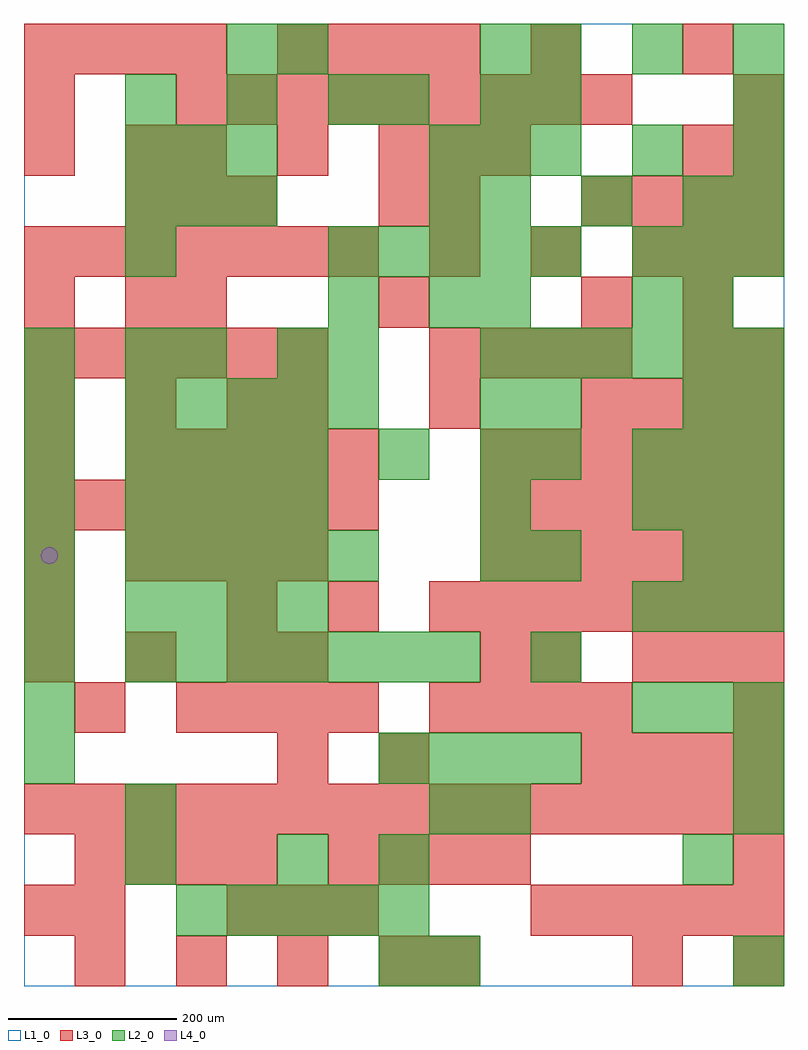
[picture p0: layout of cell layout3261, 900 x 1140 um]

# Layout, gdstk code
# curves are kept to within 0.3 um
import gdstk
lib = gdstk.Library(unit=1e-6, precision=1e-09)
def R(c, l, rs):  # rectangles x0, y0, x1, y1
    for r in rs: c.add(gdstk.rectangle(r[:2], r[2:], *l))
def A(c, l, x, y, w, h, nx, ny, dx, dy):  # array of equal rectangles
    R(c, l, [(x+i*dx, y+j*dy, x+i*dx+w, y+j*dy+h) for i in range(nx) for j in range(ny)])
def P(c, l, *ps):  # polygons
    for p in ps: c.add(gdstk.Polygon(p, *l))
L1_0 = (1, 0)
L2_0 = (2, 0)
L3_0 = (3, 0)
L4_0 = (4, 0)

layout3261 = lib.new_cell('layout3261')
R(layout3261, L1_0, [(0,0,900,1140)])
A(layout3261, L2_0, 180, 60, 60, 60, 5, 1, 60, 0)
A(layout3261, L2_0, 0, 240, 60, 60, 1, 9, 0, 60)
A(layout3261, L2_0, 420, 240, 60, 60, 4, 1, 60, 0)
A(layout3261, L2_0, 720, 300, 60, 60, 3, 3, 60, 120)
A(layout3261, L2_0, 120, 360, 60, 60, 7, 1, 60, 0)
A(layout3261, L2_0, 600, 360, 60, 60, 1, 3, 0, 120)
A(layout3261, L2_0, 120, 420, 60, 60, 4, 2, 60, 120)
A(layout3261, L2_0, 120, 480, 60, 60, 5, 2, 60, 180)
A(layout3261, L2_0, 540, 480, 60, 60, 1, 4, 0, 60)
A(layout3261, L2_0, 120, 600, 60, 60, 4, 1, 60, 0)
A(layout3261, L2_0, 720, 600, 60, 60, 3, 2, 60, 240)
A(layout3261, L2_0, 540, 720, 60, 60, 6, 1, 60, 0)
A(layout3261, L2_0, 360, 840, 60, 60, 5, 1, 60, 0)
A(layout3261, L2_0, 120, 900, 60, 60, 3, 2, 60, 60)
A(layout3261, L2_0, 540, 900, 60, 60, 3, 1, 120, 0)
A(layout3261, L2_0, 840, 900, 60, 60, 1, 3, 0, 60)
A(layout3261, L2_0, 480, 960, 60, 60, 3, 1, 60, 0)
A(layout3261, L2_0, 120, 1020, 60, 60, 3, 1, 120, 0)
A(layout3261, L2_0, 600, 1080, 60, 60, 3, 1, 120, 0)
R(layout3261, L2_0, [(420,0,480,60), (480,0,540,60), (840,0,900,60), (120,120,180,180), (300,120,360,180), (420,120,480,180), (780,120,840,180), (120,180,180,240), (480,180,540,240), (540,180,600,240), (840,180,900,240), (840,240,900,300), (780,480,840,540), (840,480,900,540), (420,600,480,660), (600,660,660,720), (780,660,840,720), (840,660,900,720), (120,720,180,780), (180,720,240,780), (300,720,360,780), (360,720,420,780), (360,780,420,840), (480,780,540,840), (540,780,600,840), (720,780,780,840), (780,780,840,840), (120,840,180,900), (480,900,540,960), (720,960,780,1020), (420,1020,480,1080), (540,1020,600,1080), (600,1020,660,1080), (240,1080,300,1140), (300,1080,360,1140), (540,1080,600,1140)])
A(layout3261, L3_0, 60, 0, 60, 60, 4, 1, 120, 0)
A(layout3261, L3_0, 240, 60, 60, 60, 3, 1, 60, 0)
A(layout3261, L3_0, 600, 60, 60, 60, 5, 1, 60, 0)
A(layout3261, L3_0, 60, 120, 60, 60, 4, 1, 60, 0)
A(layout3261, L3_0, 360, 120, 60, 60, 4, 1, 60, 0)
A(layout3261, L3_0, 0, 180, 60, 60, 15, 1, 60, 0)
A(layout3261, L3_0, 660, 240, 60, 60, 4, 2, 60, 660)
A(layout3261, L3_0, 180, 300, 60, 60, 4, 1, 60, 0)
A(layout3261, L3_0, 480, 300, 60, 60, 4, 2, 60, 420)
A(layout3261, L3_0, 0, 360, 60, 60, 3, 2, 120, 300)
A(layout3261, L3_0, 720, 360, 60, 60, 3, 2, 60, 300)
A(layout3261, L3_0, 240, 420, 60, 60, 3, 1, 120, 0)
A(layout3261, L3_0, 540, 420, 60, 60, 6, 4, 60, 60)
A(layout3261, L3_0, 120, 480, 60, 60, 4, 1, 60, 0)
A(layout3261, L3_0, 0, 540, 60, 60, 7, 2, 60, 300)
A(layout3261, L3_0, 0, 600, 60, 60, 1, 3, 0, 180)
A(layout3261, L3_0, 120, 600, 60, 60, 5, 1, 60, 0)
A(layout3261, L3_0, 300, 660, 60, 60, 3, 1, 180, 0)
A(layout3261, L3_0, 0, 720, 60, 60, 6, 1, 60, 0)
A(layout3261, L3_0, 780, 720, 60, 60, 1, 3, 0, 60)
A(layout3261, L3_0, 840, 720, 60, 60, 1, 3, 0, 120)
A(layout3261, L3_0, 180, 780, 60, 60, 3, 1, 240, 0)
A(layout3261, L3_0, 480, 840, 60, 60, 3, 1, 120, 0)
A(layout3261, L3_0, 120, 900, 60, 60, 3, 1, 60, 0)
A(layout3261, L3_0, 180, 960, 60, 60, 3, 1, 120, 0)
A(layout3261, L3_0, 180, 1020, 60, 60, 9, 1, 60, 0)
A(layout3261, L3_0, 0, 1080, 60, 60, 4, 1, 60, 0)
A(layout3261, L3_0, 300, 1080, 60, 60, 4, 1, 60, 0)
R(layout3261, L3_0, [(480,0,540,60), (720,0,780,60), (840,0,900,60), (0,60,60,120), (60,60,120,120), (840,120,900,180), (300,240,360,300), (420,240,480,300), (60,300,120,360), (840,300,900,360), (300,360,360,420), (540,360,600,420), (600,360,660,420), (0,420,60,480), (0,480,60,540), (120,780,180,840), (420,900,480,960), (480,900,540,960), (120,960,180,1020), (480,960,540,1020), (540,960,600,1020), (780,960,840,1020), (0,1020,60,1080), (840,1020,900,1080), (600,1080,660,1140), (780,1080,840,1140)])
P(layout3261, L4_0, [(40,510),(39.239,513.827),(37.071,517.071),(33.827,519.239),(30,520),(26.173,519.239),(22.929,517.071),(20.761,513.827),(20,510),(20.761,506.173),(22.929,502.929),(26.173,500.761),(30,500),(33.827,500.761),(37.071,502.929),(39.239,506.173)])

lib.write_gds('layout3261.gds')
